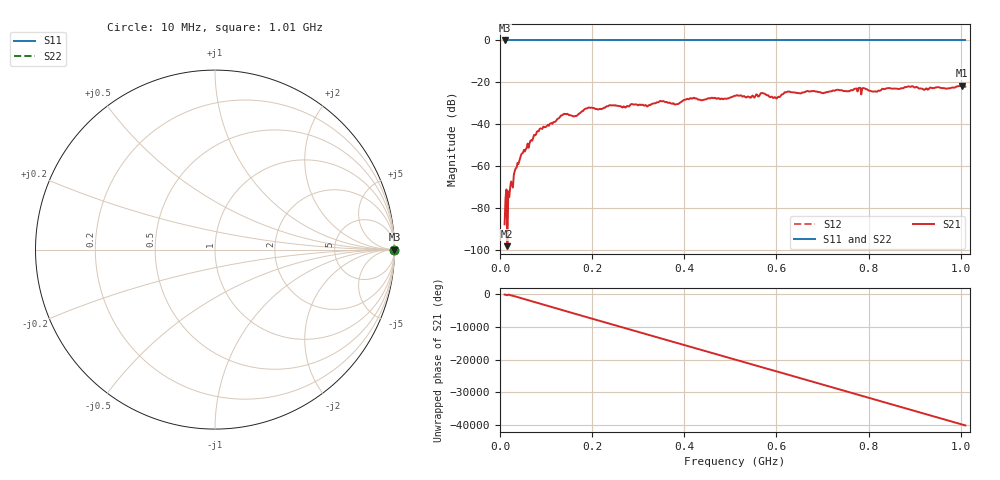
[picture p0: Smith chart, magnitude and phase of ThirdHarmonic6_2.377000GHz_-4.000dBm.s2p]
! 8/17/2025 3:45:32 AM
! C:\ANRITSUVNA\TEMP\TEMP.S2P
! CHANNEL.1
! TR.MEASUREMENT
! RAW.DATA
! RF.CORRECTION.OFF
! AVERAGING.OFF
! IF.BANDWIDTH: 5KHZ
! SWEEPTYPE:  FREQ.SWEEP(Linear)
! Reference Plane Port Info
! PORT:  PORT1  PORT2
! DISTANCE:  0  m  0  m
! TIME:  0  s  0  s
! PHASE.OFFSET:  0  deg.  0  deg.
! LOSS:  0  dB  0  dB
! REF.LOSS:  0  dB  0  dB
! REF.FREQ:  0  Hz  0  Hz
! Power Info
! POWER:  -20  dBm  -20  dBm
! EFF.POWER:  -20  dBm  -20  dBm
! SOURCE.ATTEN:  0  dB  0  dB
! TEST.ATTEN:  0  dB  0  dB
# GHZ S RI R 50.0
! FREQ.GHZ  S11RE  S11IM  S21RE  S21IM  S12RE  S12IM  S22RE  S22IM
!; PortSelection: Port_12
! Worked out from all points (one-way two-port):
!   501 points, 10 MHz to 1.01 GHz, reference 50 ohm
!   highest |S21| = -21.52 dB at 1.002 GHz (marker M1); lowest = -98.2 dB at 16 MHz (marker M2)
!   lowest |S11| = 0.0 dB at 10 MHz (marker M3)
!   |S11| at or under -10 dB: nowhere
!   |S22| runs from 0.0 to 0.0 dB; largest |S21 - S12| = 1.1
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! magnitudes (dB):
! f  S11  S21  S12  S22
! 10 MHz  0.0  -87.8  0.0  0.0
! 16 MHz  0.0  -98.2  0.0  0.0
! 24 MHz  0.0  -67.3  0.0  0.0
! 34 MHz  0.0  -61.1  0.0  0.0
! 48 MHz  0.0  -53.9  0.0  0.0
! 84 MHz  0.0  -43.4  0.0  0.0
! 136 MHz  0.0  -35.6  0.0  0.0
! 162 MHz  0.0  -36.2  0.0  0.0
! 178 MHz  0.0  -33.8  0.0  0.0
! 344 MHz  0.0  -29.5  0.0  0.0
! 384 MHz  0.0  -30.4  0.0  0.0
! 416 MHz  0.0  -27.8  0.0  0.0
! 510 MHz  0.0  -26.4  0.0  0.0
! 570 MHz  0.0  -25.1  0.0  0.0
! 598 MHz  0.0  -27.2  0.0  0.0
! 622 MHz  0.0  -24.7  0.0  0.0
! 678 MHz  0.0  -24.2  0.0  0.0
! 790 MHz  0.0  -22.8  0.0  0.0
! 814 MHz  0.0  -24.3  0.0  0.0
! 844 MHz  0.0  -22.7  0.0  0.0
! 1.002 GHz  0.0  -21.5  0.0  0.0
! 1.01 GHz  0.0  -22.0  0.0  0.0
